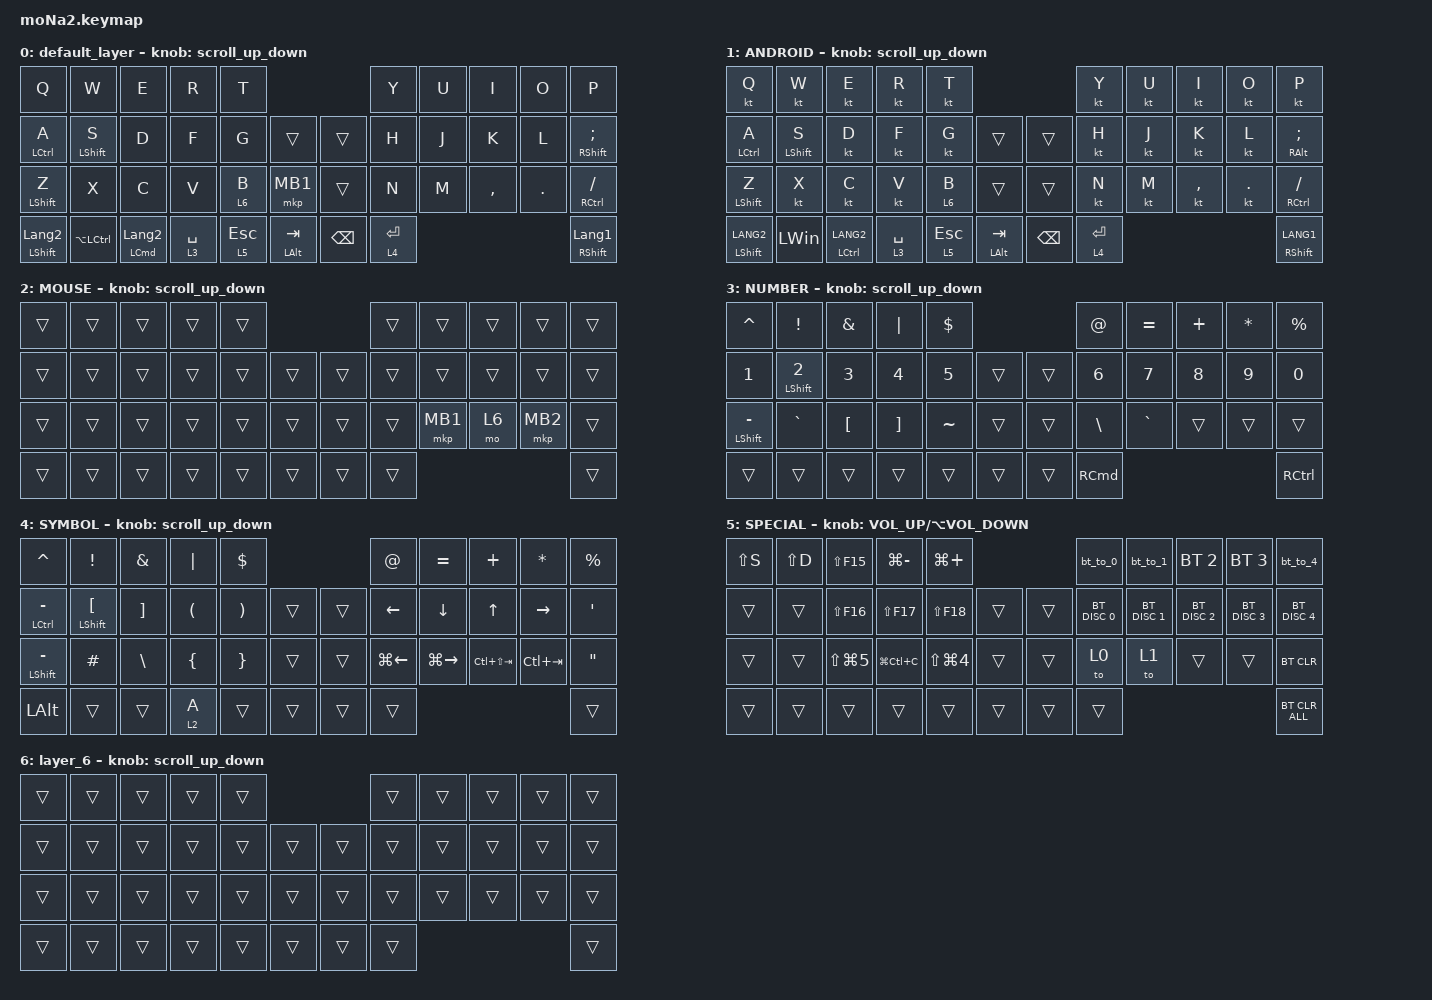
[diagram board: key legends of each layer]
#include <behaviors.dtsi>
#include <dt-bindings/zmk/bt.h>
#include <dt-bindings/zmk/keys.h>
#include <dt-bindings/zmk/pointing.h>

#define ZMK_POINTING_DEFAULT_SCRL_VAL 100
#define MOUSE 2

&mt {
    flavor = "balanced";
    quick-tap-ms = <0>;
};

/ {
    combos { compatible = "zmk,combos"; };

    macros {
        ret_kp: to_layer_0 {
            compatible = "zmk,behavior-macro-one-param";
            #binding-cells = <1>;
            bindings =
                <&to 0 &macro_param_1to1>,
                <&macro_press>,
                <&kp MACRO_PLACEHOLDER>,
                <&macro_pause_for_release>,
                <&macro_param_1to1>,
                <&macro_release>,
                <&kp MACRO_PLACEHOLDER>;

            label = "TO_LAYER_0";
        };

        bt_to_0: test {
            compatible = "zmk,behavior-macro";
            #binding-cells = <0>;
            bindings = <&bt BT_SEL 0 &to 0>;
            label = "TEST";
        };

        bt_to_4: layer_to_android {
            compatible = "zmk,behavior-macro";
            #binding-cells = <0>;
            bindings = <&bt BT_SEL 4 &to 1>;
            label = "LAYER_TO_ANDROID";
        };

        bt_to_1: bt_to_1 {
            compatible = "zmk,behavior-macro";
            #binding-cells = <0>;
            bindings = <&bt BT_SEL 1 &to 0>;
            label = "BT_TO_1";
        };
    };

    behaviors {
        lt_to_layer_0: lt_to_layer_0 {
            compatible = "zmk,behavior-hold-tap";
            label = "LAYER_TAP_TO_0";
            bindings = <&mo>, <&ret_kp>;

            #binding-cells = <2>;
            tapping-term-ms = <200>;
        };

        scroll_up_down: behavior_sensor_rotate_mouse_wheel_up_down {
            compatible = "zmk,behavior-sensor-rotate";
            #sensor-binding-cells = <0>;
            bindings = <&msc SCRL_UP>, <&msc SCRL_DOWN>;

            tap-ms = <20>;
        };
    };

    keymap {
        compatible = "zmk,keymap";

        default_layer {
            bindings = <
&kp Q                      &kp W                 &kp E                        &kp R        &kp T                                            &kp Y        &kp U  &kp I      &kp O    &kp P
&mt LEFT_CONTROL A         &mt LEFT_SHIFT S      &kp D                        &kp F        &kp G         &trans              &trans         &kp H        &kp J  &kp K      &kp L    &mt RIGHT_SHIFT SEMICOLON
&mt LEFT_SHIFT Z           &kp X                 &kp C                        &kp V        &lt 6 B       &mkp MB1            &trans         &kp N        &kp M  &kp COMMA  &kp DOT  &mt RIGHT_CONTROL SLASH
&mt LEFT_SHIFT LANGUAGE_2  &kp LA(LEFT_CONTROL)  &mt LEFT_COMMAND LANGUAGE_2  &lt 3 SPACE  &lt 5 ESCAPE  &mt LEFT_ALT TAB    &kp BACKSPACE  &lt 4 ENTER                             &mt RIGHT_SHIFT LANGUAGE_1
            >;

            sensor-bindings = <&scroll_up_down>;
        };

        ANDROID {
            bindings = <
&kt Q                 &kt W             &kt E                   &kt R        &kt T                                         &kt Y        &kt U  &kt I      &kt O       &kt P
&mt LEFT_CONTROL A    &mt LEFT_SHIFT S  &kt D                   &kt F        &kt G      &trans              &trans         &kt H        &kt J  &kt K      &kt L       &mt RIGHT_ALT SEMICOLON
&mt LEFT_SHIFT Z      &kt X             &kt C                   &kt V        &lt 6 B    &trans              &trans         &kt N        &kt M  &kt COMMA  &kt PERIOD  &mt RIGHT_CONTROL SLASH
&mt LEFT_SHIFT LANG2  &kp LEFT_WIN      &mt LEFT_CONTROL LANG2  &lt 3 SPACE  &lt 5 ESC  &mt LEFT_ALT TAB    &kp BACKSPACE  &lt 4 ENTER                                &mt RSHIFT LANG1
            >;

            sensor-bindings = <&scroll_up_down>;
        };

        MOUSE {
            bindings = <
&trans  &trans  &trans  &trans  &trans                    &trans  &trans    &trans  &trans    &trans
&trans  &trans  &trans  &trans  &trans  &trans    &trans  &trans  &trans    &trans  &trans    &trans
&trans  &trans  &trans  &trans  &trans  &trans    &trans  &trans  &mkp MB1  &mo 6   &mkp MB2  &trans
&trans  &trans  &trans  &trans  &trans  &trans    &trans  &trans                              &trans
            >;

            sensor-bindings = <&scroll_up_down>;
        };

        NUMBER {
            bindings = <
&kp CARET             &kp EXCLAMATION          &kp AMPERSAND     &kp PIPE           &kp DOLLAR                      &kp AT_SIGN        &kp EQUAL     &kp PLUS      &kp ASTERISK  &kp PERCENT
&kp NUMBER_1          &mt LEFT_SHIFT NUMBER_2  &kp NUMBER_3      &kp NUMBER_4       &kp NUMBER_5  &trans    &trans  &kp NUMBER_6       &kp NUMBER_7  &kp NUMBER_8  &kp NUMBER_9  &kp NUMBER_0
&mt LEFT_SHIFT MINUS  &kp GRAVE                &kp LEFT_BRACKET  &kp RIGHT_BRACKET  &kp TILDE     &trans    &trans  &kp BACKSLASH      &kp GRAVE     &trans        &trans        &trans
&trans                &trans                   &trans            &trans             &trans        &trans    &trans  &kp RIGHT_COMMAND                                            &kp RCTRL
            >;

            sensor-bindings = <&scroll_up_down>;
        };

        SYMBOL {
            bindings = <
&kp CARET             &kp EXCLAMATION              &kp AMPERSAND      &kp PIPE              &kp DOLLAR                               &kp AT_SIGN         &kp EQUAL            &kp PLUS         &kp ASTERISK     &kp PERCENT
&mt LCTRL MINUS       &mt LEFT_SHIFT LEFT_BRACKET  &kp RIGHT_BRACKET  &kp LEFT_PARENTHESIS  &kp RIGHT_PARENTHESIS  &trans    &trans  &kp LEFT_ARROW      &kp DOWN_ARROW       &kp UP_ARROW     &kp RIGHT_ARROW  &kp SINGLE_QUOTE
&mt LEFT_SHIFT MINUS  &kp HASH                     &kp BACKSLASH      &kp LEFT_BRACE        &kp RIGHT_BRACE        &trans    &trans  &kp LG(LEFT_ARROW)  &kp LG(RIGHT_ARROW)  &kp LC(LS(TAB))  &kp LC(TAB)      &kp DOUBLE_QUOTES
&kp LEFT_ALT          &trans                       &trans             &lt_to_layer_0 2 A    &trans                 &trans    &trans  &trans                                                                     &trans
            >;

            sensor-bindings = <&scroll_up_down>;
        };

        SPECIAL {
            bindings = <
&kp LS(S)  &kp LS(D)  &kp LS(F15)           &kp LG(MINUS)  &kp LG(PLUS)                            &bt_to_0       &bt_to_1       &bt BT_SEL 2   &bt BT_SEL 3   &bt_to_4
&trans     &trans     &kp LS(F16)           &kp LS(F17)    &kp LS(F18)           &trans    &trans  &bt BT_DISC 0  &bt BT_DISC 1  &bt BT_DISC 2  &bt BT_DISC 3  &bt BT_DISC 4
&trans     &trans     &kp LS(LG(NUMBER_5))  &kp LG(LC(C))  &kp LS(LG(NUMBER_4))  &trans    &trans  &to 0          &to 1          &trans         &trans         &bt BT_CLR
&trans     &trans     &trans                &trans         &trans                &trans    &trans  &trans                                                      &bt BT_CLR_ALL
            >;

            sensor-bindings = <&inc_dec_kp C_VOLUME_UP LA(C_VOLUME_DOWN)>;
        };

        layer_6 {
            bindings = <
&trans  &trans  &trans  &trans  &trans                    &trans  &trans  &trans  &trans  &trans
&trans  &trans  &trans  &trans  &trans  &trans    &trans  &trans  &trans  &trans  &trans  &trans
&trans  &trans  &trans  &trans  &trans  &trans    &trans  &trans  &trans  &trans  &trans  &trans
&trans  &trans  &trans  &trans  &trans  &trans    &trans  &trans                          &trans
            >;

            sensor-bindings = <&scroll_up_down>;
        };
    };
};
